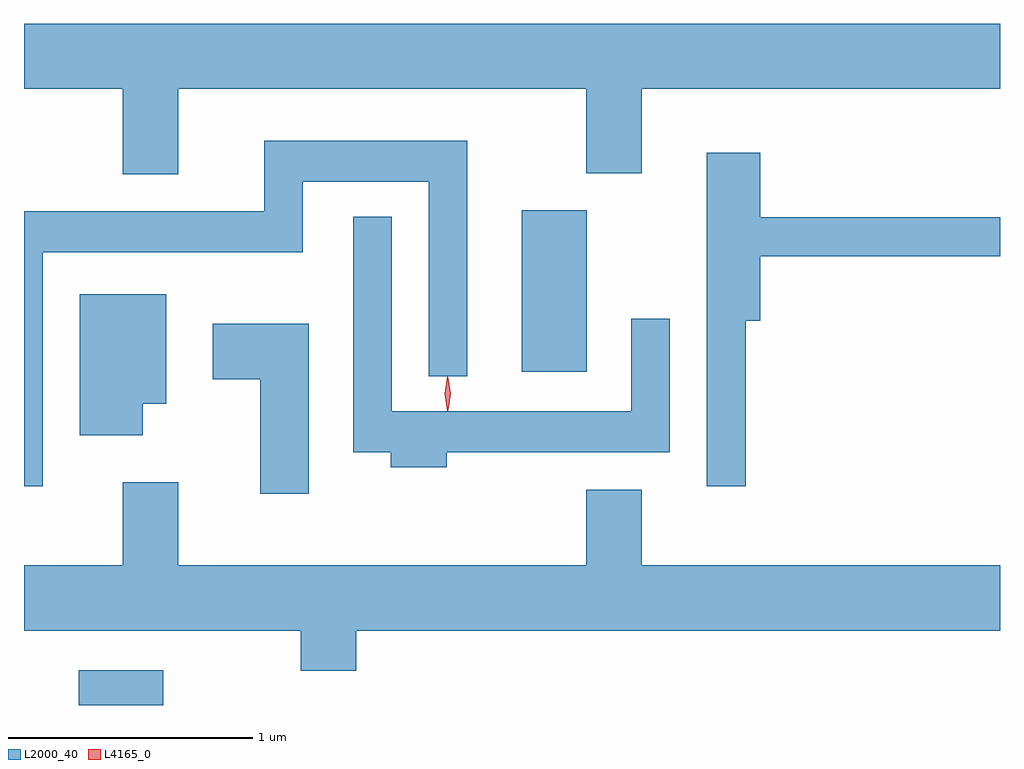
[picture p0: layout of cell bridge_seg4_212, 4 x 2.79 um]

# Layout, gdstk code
import gdstk
lib = gdstk.Library(unit=1e-6, precision=1e-09)
def R(c, l, rs):  # rectangles x0, y0, x1, y1
    for r in rs: c.add(gdstk.rectangle(r[:2], r[2:], *l))
def P(c, l, *ps):  # polygons
    for p in ps: c.add(gdstk.Polygon(p, *l))
L2000_40 = (2000, 40)
L4165_0 = (4165, 0)

bridge_seg4_212 = lib.new_cell('bridge_seg4_212')
R(bridge_seg4_212, L2000_40, [(1082.941,1254.469,1083.288,1254.614), (1084.756,1255.836,1085.024,1256.499)])
P(bridge_seg4_212, L2000_40, [(1083.349,1256.996),(1085.021,1256.996),(1085.021,1256.651),(1085.249,1256.651),(1085.249,1256.996),(1086.717,1256.996),(1086.717,1257.264),(1082.717,1257.264),(1082.717,1256.996),(1083.121,1256.996),(1083.121,1256.646),(1083.349,1256.646)],
  [(1082.794,1256.326),(1083.859,1256.326),(1083.859,1256.616),(1084.376,1256.616),(1084.376,1255.818),(1084.534,1255.818),(1084.534,1256.784),(1083.701,1256.784),(1083.701,1256.494),(1082.717,1256.494),(1082.717,1255.368),(1082.794,1255.368)],
  [(1085.674,1256.046),(1085.734,1256.046),(1085.734,1256.311),(1086.717,1256.311),(1086.717,1256.469),(1085.734,1256.469),(1085.734,1256.734),(1085.516,1256.734),(1085.516,1255.368),(1085.674,1255.368)],
  [(1084.449,1255.506),(1085.364,1255.506),(1085.364,1256.053),(1085.206,1256.053),(1085.206,1255.674),(1084.224,1255.674),(1084.224,1256.473),(1084.066,1256.473),(1084.066,1255.506),(1084.221,1255.506),(1084.221,1255.446),(1084.449,1255.446)],
  [(1083.204,1255.706),(1083.299,1255.706),(1083.299,1256.154),(1082.946,1256.154),(1082.946,1255.576),(1083.204,1255.576)],
  [(1083.884,1256.034),(1083.491,1256.034),(1083.491,1255.806),(1083.686,1255.806),(1083.686,1255.336),(1083.884,1255.336)],
  [(1084.079,1254.776),(1086.717,1254.776),(1086.717,1255.044),(1085.249,1255.044),(1085.249,1255.354),(1085.021,1255.354),(1085.021,1255.044),(1083.349,1255.044),(1083.349,1255.384),(1083.121,1255.384),(1083.121,1255.044),(1082.717,1255.044),(1082.717,1254.776),(1083.851,1254.776),(1083.851,1254.611),(1084.079,1254.611)])
P(bridge_seg4_212, L4165_0, [(1084.452,1255.677),(1084.452,1255.677),(1084.442,1255.747),(1084.452,1255.816),(1084.452,1255.816),(1084.453,1255.816),(1084.462,1255.747),(1084.453,1255.677)],
  [(1084.456,1255.679),(1084.455,1255.68),(1084.446,1255.746),(1084.455,1255.812),(1084.455,1255.813),(1084.456,1255.812),(1084.465,1255.746),(1084.456,1255.68)])

lib.write_gds('bridge_seg4_212.gds')
